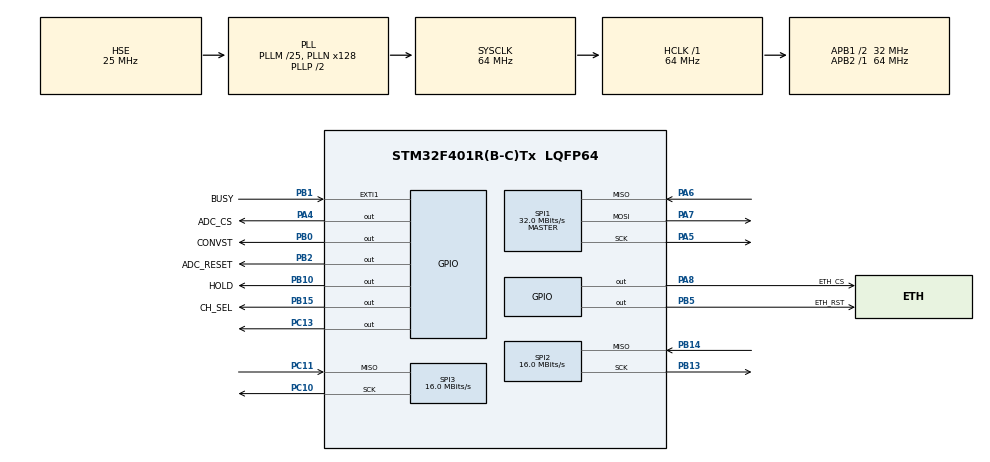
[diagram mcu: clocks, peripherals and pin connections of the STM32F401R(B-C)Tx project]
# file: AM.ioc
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Dma.Request0=SPI1_TX
Dma.Request1=SPI3_RX
Dma.Request2=SPI2_RX
Dma.SPI1_TX.0.Direction=DMA_MEMORY_TO_PERIPH
Dma.SPI1_TX.0.FIFOMode=DMA_FIFOMODE_DISABLE
Dma.SPI1_TX.0.Instance=DMA2_Stream3
Dma.SPI1_TX.0.MemDataAlignment=DMA_MDATAALIGN_BYTE
Dma.SPI1_TX.0.MemInc=DMA_MINC_ENABLE
Dma.SPI1_TX.0.Mode=DMA_NORMAL
Dma.SPI1_TX.0.PeriphDataAlignment=DMA_PDATAALIGN_BYTE
Dma.SPI1_TX.0.PeriphInc=DMA_PINC_DISABLE
Dma.SPI1_TX.0.Priority=DMA_PRIORITY_VERY_HIGH
Dma.SPI2_RX.2.Direction=DMA_PERIPH_TO_MEMORY
Dma.SPI2_RX.2.FIFOMode=DMA_FIFOMODE_DISABLE
Dma.SPI2_RX.2.Instance=DMA1_Stream3
Dma.SPI2_RX.2.MemDataAlignment=DMA_MDATAALIGN_BYTE
Dma.SPI2_RX.2.MemInc=DMA_MINC_ENABLE
Dma.SPI2_RX.2.Mode=DMA_NORMAL
Dma.SPI2_RX.2.PeriphDataAlignment=DMA_PDATAALIGN_BYTE
Dma.SPI2_RX.2.PeriphInc=DMA_PINC_DISABLE
Dma.SPI2_RX.2.Priority=DMA_PRIORITY_LOW
Dma.SPI3_RX.1.Direction=DMA_PERIPH_TO_MEMORY
Dma.SPI3_RX.1.FIFOMode=DMA_FIFOMODE_DISABLE
Dma.SPI3_RX.1.Instance=DMA1_Stream0
Dma.SPI3_RX.1.MemDataAlignment=DMA_MDATAALIGN_HALFWORD
Dma.SPI3_RX.1.MemInc=DMA_MINC_ENABLE
Dma.SPI3_RX.1.Mode=DMA_NORMAL
Dma.SPI3_RX.1.PeriphDataAlignment=DMA_PDATAALIGN_HALFWORD
Dma.SPI3_RX.1.PeriphInc=DMA_PINC_DISABLE
Dma.SPI3_RX.1.Priority=DMA_PRIORITY_LOW
Mcu.Family=STM32F4
Mcu.Name=STM32F401R(B-C)Tx
Mcu.Package=LQFP64
NVIC.DMA1_Stream0_IRQn=true\:0\:0\:false\:false\:true\:false\:true\:true
NVIC.DMA1_Stream3_IRQn=true\:0\:0\:false\:false\:true\:false\:true\:true
NVIC.DMA2_Stream3_IRQn=true\:3\:0\:true\:false\:true\:false\:true\:true
NVIC.PriorityGroup=NVIC_PRIORITYGROUP_4
PA4.GPIO_Label=ADC_CS
PA4.GPIO_Speed=GPIO_SPEED_FREQ_VERY_HIGH
PA4.PinState=GPIO_PIN_SET
PA4.Signal=GPIO_Output
PA5.Mode=Full_Duplex_Master
PA5.Signal=SPI1_SCK
PA6.Mode=Full_Duplex_Master
PA6.Signal=SPI1_MISO
PA7.Mode=Full_Duplex_Master
PA7.Signal=SPI1_MOSI
PA8.GPIO_Label=ETH_CS
PA8.GPIO_Speed=GPIO_SPEED_FREQ_HIGH
PA8.PinState=GPIO_PIN_SET
PA8.Signal=GPIO_Output
PB0.GPIO_Label=CONVST
PB0.GPIO_Speed=GPIO_SPEED_FREQ_VERY_HIGH
PB0.PinState=GPIO_PIN_SET
PB0.Signal=GPIO_Output
PB1.GPIO_Label=BUSY
PB1.GPIO_ModeDefaultEXTI=GPIO_MODE_IT_FALLING
PB1.Signal=GPXTI1
PB10.GPIO_Label=HOLD
PB10.GPIO_Speed=GPIO_SPEED_FREQ_VERY_HIGH
PB10.PinState=GPIO_PIN_SET
PB10.Signal=GPIO_Output
PB13.Mode=RX_Only_Simplex_Unidirect_Master
PB13.Signal=SPI2_SCK
PB14.Mode=RX_Only_Simplex_Unidirect_Master
PB14.Signal=SPI2_MISO
PB15.GPIO_Label=CH_SEL
PB15.GPIO_Speed=GPIO_SPEED_FREQ_VERY_HIGH
PB15.Signal=GPIO_Output
PB2.GPIO_Label=ADC_RESET
PB2.GPIO_Speed=GPIO_SPEED_FREQ_VERY_HIGH
PB2.Signal=GPIO_Output
PB5.GPIO_Label=ETH_RST
PB5.GPIO_Speed=GPIO_SPEED_FREQ_LOW
PB5.PinState=GPIO_PIN_SET
PB5.Signal=GPIO_Output
PC10.Mode=RX_Only_Simplex_Unidirect_Master
PC10.Signal=SPI3_SCK
PC11.Mode=RX_Only_Simplex_Unidirect_Master
PC11.Signal=SPI3_MISO
PC13-ANTI_TAMP.GPIO_Speed=GPIO_SPEED_FREQ_LOW
PC13-ANTI_TAMP.PinState=GPIO_PIN_SET
PC13-ANTI_TAMP.Signal=GPIO_Output
PH0\ -\ OSC_IN.Mode=HSE-External-Oscillator
PH0\ -\ OSC_IN.Signal=RCC_OSC_IN
PH1\ -\ OSC_OUT.Mode=HSE-External-Oscillator
PH1\ -\ OSC_OUT.Signal=RCC_OSC_OUT
ProjectManager.HeapSize=0x200
ProjectManager.StackSize=0x400
ProjectManager.TargetToolchain=STM32CubeIDE
RCC.48MHZClocksFreq_Value=32000000
RCC.AHBFreq_Value=64000000
RCC.APB1CLKDivider=RCC_HCLK_DIV2
RCC.APB1Freq_Value=32000000
RCC.APB1TimFreq_Value=64000000
RCC.APB2Freq_Value=64000000
RCC.APB2TimFreq_Value=64000000
RCC.CortexFreq_Value=64000000
RCC.HCLKFreq_Value=64000000
RCC.HSE_VALUE=25000000
RCC.HSI_VALUE=16000000
RCC.LSE_VALUE=32768
RCC.PLLM=25
RCC.PLLN=128
RCC.PLLSourceVirtual=RCC_PLLSOURCE_HSE
RCC.SYSCLKFreq_VALUE=64000000
RCC.SYSCLKSource=RCC_SYSCLKSOURCE_PLLCLK
RCC.VCOOutputFreq_Value=128000000
SPI1.BaudRatePrescaler=SPI_BAUDRATEPRESCALER_2
SPI1.CalculateBaudRate=32.0 MBits/s
SPI1.Direction=SPI_DIRECTION_2LINES
SPI1.Mode=SPI_MODE_MASTER
SPI1.VirtualType=VM_MASTER
SPI2.CalculateBaudRate=16.0 MBits/s
SPI2.Direction=SPI_DIRECTION_2LINES_RXONLY
SPI2.Mode=SPI_MODE_MASTER
SPI2.VirtualType=VM_MASTER
SPI3.CalculateBaudRate=16.0 MBits/s
SPI3.DataSize=SPI_DATASIZE_16BIT
SPI3.Direction=SPI_DIRECTION_2LINES_RXONLY
SPI3.Mode=SPI_MODE_MASTER
SPI3.VirtualType=VM_MASTER
TIM2.Period=639
VP_TIM2_VS_ClockSourceINT.Mode=Internal
board=custom

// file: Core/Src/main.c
/* USER CODE BEGIN Header */
/**
 * main.c — AD7606 16-ch ADC acquisition + W5500 Ethernet DMA TX
 *
 * STM32F401RCT6 @ 64 MHz (HSE=25 MHz, PLLM=25, PLLN=128, PLLP=/2)
 *
 * SPI1 (ETH)      : APB2=64 MHz, prescaler /2 → 32 MHz
 * SPI2/SPI3 (ADC) : APB1=32 MHz, prescaler /2 → 16 MHz
 * TIM2            : APB1x2=64 MHz, ARR=1332 → 48 kHz acquisition trigger
 *
 * FIX 1 — All ADC GPIO pins initialised here (CS, CONVST, RESET, HOLD,
 *          CH_SEL as outputs; BUSY as input with pull-down to prevent a
 *          floating-pin interrupt storm that starves SysTick).
 * FIX 2 — MX_SPI2_Init, MX_SPI3_Init and MX_TIM2_Init are now present
 *          and called from main() so the ADC driver can operate.
 */
/* USER CODE END Header */

#include "main.h"

/* USER CODE BEGIN Includes */
#include "wiz5500.h"
#include "ad7606.h"
#include <string.h>
/* USER CODE END Includes */

/* USER CODE BEGIN PD */
#define BATCH_FRAMES   AD7606_BATCH_FRAMES   /* 24  */
#define CHANNELS       AD7606_NUM_CHANNELS   /* 16  */
#define FRAME_SIZE     AD7606_FRAME_SIZE     /* 36  */
#define BATCH_SIZE     AD7606_BATCH_SIZE     /* 864 */
/* USER CODE END PD */

SPI_HandleTypeDef hspi1;
DMA_HandleTypeDef hdma_spi1_tx;

/* ADC peripheral handles — fully initialised by MX_SPI2/3_Init below */
SPI_HandleTypeDef hspi2;
SPI_HandleTypeDef hspi3;
TIM_HandleTypeDef htim2;
DMA_HandleTypeDef hdma_spi2_rx;
DMA_HandleTypeDef hdma_spi3_rx;

/* USER CODE BEGIN PV */
static AD7606_Batch rx_batch;
static volatile uint32_t sent_ok    = 0u;
static volatile uint32_t eth_drops  = 0u;
/* USER CODE END PV */

void SystemClock_Config(void);
static void MX_GPIO_Init(void);
static void MX_DMA_Init(void);
static void MX_SPI1_Init(void);
static void MX_SPI2_Init(void);   /* FIX 2: was missing */
static void MX_SPI3_Init(void);   /* FIX 2: was missing */
static void MX_TIM2_Init(void);   /* FIX 2: was missing */

int main(void)
{
    HAL_Init();
    /* HAL SPI timeout helpers use HAL_GetTick(). We launch ADC SPI DMA from
     * EXTI/TIM paths, so SysTick must preempt those ISRs; otherwise timeout
     * loops in HAL can stall waiting for a tick that never advances. */
    HAL_NVIC_SetPriority(SysTick_IRQn, 0, 0);
    SystemClock_Config();

    /* FIX 1: GPIO must come first so all output pins are in a safe
     * idle state (CS high, CONVST high, BUSY pull-down applied) before
     * any peripheral is started.  The BUSY pull-down prevents the
     * floating-pin EXTI storm that starved SysTick. */
    MX_GPIO_Init();

    /* FIX 2: DMA clocks and NVIC must be set up before the SPI inits
     * that link DMA handles, and before the ADC driver is called. */
    MX_DMA_Init();

    MX_SPI1_Init();
    MX_SPI2_Init();   /* FIX 2 */
    MX_SPI3_Init();   /* FIX 2 */
    MX_TIM2_Init();   /* FIX 2 */

    /* USER CODE BEGIN 2 */
    /* ── Ethernet ────────────────────────────────────────────── */
    WIZ5500_Config eth_cfg = {
        .mac       = {0x00, 0x08, 0xDC, 0x11, 0x22, 0x33},
        .ip        = {192, 168, 1, 20},
        .subnet    = {255, 255, 255, 0},
        .gateway   = {192, 168, 1, 1},
        .dest_ip   = {192, 168, 1, 255},
        .dest_port = 5002u,
        .src_port  = 5001u,
    };
    WIZ5500_Init(&eth_cfg);

    if (WIZCHIP_READ(VERSIONR) != 0x04u)
        Error_Handler();

    if (WIZ5500_SetupSocket0() != WIZ5500_OK)
        Error_Handler();

    /* ── ADC ─────────────────────────────────────────────────── */
    AD7606_Init(&hspi2, &hspi3, &htim2);
    AD7606_Start();
    /* USER CODE END 2 */

    while (1)
    {
        if (AD7606_IsBatchReady())
        {
            AD7606_GetBatch(&rx_batch);

            WIZ5500_Status s;
            do {
                s = WIZ5500_SendBatch(rx_batch.packet, BATCH_SIZE);
            } while (s == WIZ5500_ERR_BUSY);

            if (s == WIZ5500_OK)
                sent_ok++;
            else
                eth_drops++;
        }

        /* LED heartbeat — toggle every 4096 frames */
        if ((AD7606_GetFrameCount() & 0xFFFu) == 0u)
            HAL_GPIO_TogglePin(GPIOC, GPIO_PIN_13);
    }
}

/* ── System clock ────────────────────────────────────────────────────────── */
void SystemClock_Config(void)
{
    RCC_OscInitTypeDef RCC_OscInitStruct = {0};
    RCC_ClkInitTypeDef RCC_ClkInitStruct = {0};

    __HAL_RCC_PWR_CLK_ENABLE();
    __HAL_PWR_VOLTAGESCALING_CONFIG(PWR_REGULATOR_VOLTAGE_SCALE1);

    RCC_OscInitStruct.OscillatorType = RCC_OSCILLATORTYPE_HSE;
    RCC_OscInitStruct.HSEState       = RCC_HSE_ON;
    RCC_OscInitStruct.PLL.PLLState   = RCC_PLL_ON;
    RCC_OscInitStruct.PLL.PLLSource  = RCC_PLLSOURCE_HSE;
    RCC_OscInitStruct.PLL.PLLM       = 25;
    RCC_OscInitStruct.PLL.PLLN       = 128;
    RCC_OscInitStruct.PLL.PLLP       = RCC_PLLP_DIV2;  /* SYSCLK = 64 MHz */
    RCC_OscInitStruct.PLL.PLLQ       = 4;
    if (HAL_RCC_OscConfig(&RCC_OscInitStruct) != HAL_OK) Error_Handler();

    RCC_ClkInitStruct.ClockType      = RCC_CLOCKTYPE_HCLK | RCC_CLOCKTYPE_SYSCLK
                                      | RCC_CLOCKTYPE_PCLK1 | RCC_CLOCKTYPE_PCLK2;
    RCC_ClkInitStruct.SYSCLKSource   = RCC_SYSCLKSOURCE_PLLCLK;
    RCC_ClkInitStruct.AHBCLKDivider  = RCC_SYSCLK_DIV1;   /* HCLK  = 64 MHz */
    RCC_ClkInitStruct.APB1CLKDivider = RCC_HCLK_DIV2;     /* APB1  = 32 MHz */
    RCC_ClkInitStruct.APB2CLKDivider = RCC_HCLK_DIV1;     /* APB2  = 64 MHz */
    if (HAL_RCC_ClockConfig(&RCC_ClkInitStruct, FLASH_LATENCY_2) != HAL_OK)
        Error_Handler();
}

/* ── SPI1 — W5500 Ethernet @ 32 MHz ─────────────────────────────────────── */
static void MX_SPI1_Init(void)
{
    hspi1.Instance               = SPI1;
    hspi1.Init.Mode              = SPI_MODE_MASTER;
    hspi1.Init.Direction         = SPI_DIRECTION_2LINES;
    hspi1.Init.DataSize          = SPI_DATASIZE_8BIT;
    hspi1.Init.CLKPolarity       = SPI_POLARITY_LOW;
    hspi1.Init.CLKPhase          = SPI_PHASE_1EDGE;
    hspi1.Init.NSS               = SPI_NSS_SOFT;
    hspi1.Init.BaudRatePrescaler = SPI_BAUDRATEPRESCALER_2;  /* APB2/2 = 32 MHz */
    hspi1.Init.FirstBit          = SPI_FIRSTBIT_MSB;
    hspi1.Init.TIMode            = SPI_TIMODE_DISABLE;
    hspi1.Init.CRCCalculation    = SPI_CRCCALCULATION_DISABLE;
    hspi1.Init.CRCPolynomial     = 10;
    if (HAL_SPI_Init(&hspi1) != HAL_OK) Error_Handler();
}

/* ── SPI2 — AD7606 DOUTA (X bank, CH1-CH8) @ 16 MHz ────────────────────── */
static void MX_SPI2_Init(void)
{
    hspi2.Instance               = SPI2;
    hspi2.Init.Mode              = SPI_MODE_MASTER;
    hspi2.Init.Direction         = SPI_DIRECTION_2LINES_RXONLY;
    hspi2.Init.DataSize          = SPI_DATASIZE_8BIT;    /* Changed to 8-bit for direct DMA */
    hspi2.Init.CLKPolarity       = SPI_POLARITY_LOW;
    hspi2.Init.CLKPhase          = SPI_PHASE_1EDGE;
    hspi2.Init.NSS               = SPI_NSS_SOFT;
    hspi2.Init.BaudRatePrescaler = ADC_SPI_PRESCALER;
    hspi2.Init.FirstBit          = SPI_FIRSTBIT_MSB;
    hspi2.Init.TIMode            = SPI_TIMODE_DISABLE;
    hspi2.Init.CRCCalculation    = SPI_CRCCALCULATION_DISABLE;
    hspi2.Init.CRCPolynomial     = 10;
    if (HAL_SPI_Init(&hspi2) != HAL_OK) Error_Handler();
}

/* ── SPI3 — AD7606 DOUTB (Y bank, CH9-CH16) @ 16 MHz ───────────────────── */
static void MX_SPI3_Init(void)
{
    hspi3.Instance               = SPI3;
    hspi3.Init.Mode              = SPI_MODE_MASTER;
    hspi3.Init.Direction         = SPI_DIRECTION_2LINES_RXONLY;
    hspi3.Init.DataSize          = SPI_DATASIZE_8BIT;    /* Changed to 8-bit for direct DMA */
    hspi3.Init.CLKPolarity       = SPI_POLARITY_LOW;
    hspi3.Init.CLKPhase          = SPI_PHASE_1EDGE;
    hspi3.Init.NSS               = SPI_NSS_SOFT;
    hspi3.Init.BaudRatePrescaler = ADC_SPI_PRESCALER;
    hspi3.Init.FirstBit          = SPI_FIRSTBIT_MSB;
    hspi3.Init.TIMode            = SPI_TIMODE_DISABLE;
    hspi3.Init.CRCCalculation    = SPI_CRCCALCULATION_DISABLE;
    hspi3.Init.CRCPolynomial     = 10;
    if (HAL_SPI_Init(&hspi3) != HAL_OK) Error_Handler();
}

/* ── TIM2 — 48 kHz ADC acquisition trigger ──────────────────────────────── */
/* FIX 2: This function was entirely absent from the original main.c.
 * TIM2_CLK = APB1(32MHz) x2 = 64 MHz (APB1 prescaler != 1 → timer x2 rule).
 * ARR = 64,000,000 / 48,000 - 1 = 1332 → exactly 48 kHz.
 * HAL_TIM_Base_MspInit (hal_msp.c) enables TIM2 clock and NVIC. */
static void MX_TIM2_Init(void)
{
    TIM_ClockConfigTypeDef  sClockSourceConfig = {0};
    TIM_MasterConfigTypeDef sMasterConfig      = {0};

    htim2.Instance               = TIM2;
    htim2.Init.Prescaler         = 0;                  /* No prescaler — full 64 MHz */
    htim2.Init.CounterMode       = TIM_COUNTERMODE_UP;
    htim2.Init.Period            = AD7606_TIM_ARR;     /* 1332 → 48 kHz */
    htim2.Init.ClockDivision     = TIM_CLOCKDIVISION_DIV1;
    htim2.Init.AutoReloadPreload = TIM_AUTORELOAD_PRELOAD_DISABLE;
    if (HAL_TIM_Base_Init(&htim2) != HAL_OK) Error_Handler();

    sClockSourceConfig.ClockSource = TIM_CLOCKSOURCE_INTERNAL;
    if (HAL_TIM_ConfigClockSource(&htim2, &sClockSourceConfig) != HAL_OK)
        Error_Handler();

    sMasterConfig.MasterOutputTrigger = TIM_TRGO_RESET;
    sMasterConfig.MasterSlaveMode     = TIM_MASTERSLAVEMODE_DISABLE;
    if (HAL_TIMEx_MasterConfigSynchronization(&htim2, &sMasterConfig) != HAL_OK)
        Error_Handler();
}

/* ── DMA controller clocks + NVIC ───────────────────────────────────────── */
/* FIX 2: DMA1 clock added for SPI2/SPI3 DMA streams.
 * Only the ETH DMA IRQ was previously enabled; the ADC DMA IRQs were absent. */
static void MX_DMA_Init(void)
{
    /* DMA1: SPI2_RX (Stream3) and SPI3_RX (Stream0) */
    __HAL_RCC_DMA1_CLK_ENABLE();

    /* DMA2: SPI1_TX (Stream3) — Ethernet */
    __HAL_RCC_DMA2_CLK_ENABLE();

    /* FIX 2: ADC DMA IRQs were never enabled — HardFault on first DMA TC */
    HAL_NVIC_SetPriority(ADC_DMA_SPI2_IRQn, ADC_DMA_NVIC_PRIORITY, 0);   /* priority 0 */
    HAL_NVIC_EnableIRQ(ADC_DMA_SPI2_IRQn);   /* DMA1_Stream3 — SPI2 RX */

    HAL_NVIC_SetPriority(ADC_DMA_SPI3_IRQn, ADC_DMA_NVIC_PRIORITY, 0);   /* priority 0 */
    HAL_NVIC_EnableIRQ(ADC_DMA_SPI3_IRQn);   /* DMA1_Stream0 — SPI3 RX */

    /* Ethernet DMA — lower priority than ADC */
    HAL_NVIC_SetPriority(ETH_DMA_IRQn, ETH_DMA_NVIC_PRIORITY, 0);        /* priority 5 */
    HAL_NVIC_EnableIRQ(ETH_DMA_IRQn);        /* DMA2_Stream3 — SPI1 TX */
}

/* ── GPIO ────────────────────────────────────────────────────────────────── */
/*
 * FIX 1 — Complete GPIO initialisation for every ADC control pin.
 *
 * Root cause of the HAL_GetTick() freeze:
 *   PB1 (BUSY) was left uninitialised → floating → EXTI1 fired
 *   continuously at priority 1, starving SysTick (priority 15).
 *
 * Fix applied:
 *   • BUSY (PB1)   — INPUT with GPIO_PULLDOWN so the line rests LOW
 *                    when the AD7606 is idle.  Prevents spurious EXTI1
 *                    triggers before the ADC is powered/reset.
 *   • CONVST (PB0) — OUTPUT_PP, pre-set HIGH (idle state).
 *   • RESET (PB2)  — OUTPUT_PP, pre-set LOW  (deasserted).
 *   • HOLD  (PB10) — OUTPUT_PP, pre-set HIGH (released/inactive).
 *   • CH_SEL(PB15) — OUTPUT_PP, pre-set LOW  (X bank default).
 *   • ADC_CS(PA4)  — OUTPUT_PP, pre-set HIGH (deasserted).
 *
 * NOTE: The EXTI1 interrupt itself (NVIC) is enabled in
 *       stm32f4xx_hal_msp.c alongside the SPI2 init, after BUSY has
 *       been given a defined pull-down state here.
 */
static void MX_GPIO_Init(void)
{
    GPIO_InitTypeDef GPIO_InitStruct = {0};

    /* Enable all port clocks used */
    __HAL_RCC_GPIOA_CLK_ENABLE();
    __HAL_RCC_GPIOB_CLK_ENABLE();
    __HAL_RCC_GPIOC_CLK_ENABLE();
    __HAL_RCC_GPIOH_CLK_ENABLE();

    /* ── Pre-set outputs to safe idle levels BEFORE init ──────── */
    /* ADC CS — deasserted (HIGH) */
    HAL_GPIO_WritePin(ADC_CS_PORT,    ADC_CS_PIN,    GPIO_PIN_SET);
    /* CONVST — idle HIGH; falling edge triggers conversion */
    HAL_GPIO_WritePin(ADC_CONVST_PORT, ADC_CONVST_PIN, GPIO_PIN_SET);
    /* RESET — deasserted (LOW active-HIGH device, so keep LOW) */
    HAL_GPIO_WritePin(ADC_RESET_PORT, ADC_RESET_PIN, GPIO_PIN_RESET);
    /* HOLD — released (HIGH = tracking) */
    HAL_GPIO_WritePin(ADC_HOLD_PORT,  ADC_HOLD_PIN,  GPIO_PIN_SET);
    /* CH_SEL — X bank default (LOW) */
    HAL_GPIO_WritePin(ADC_CHSEL_PORT, ADC_CHSEL_PIN, GPIO_PIN_RESET);
    /* ETH CS — deasserted */
    HAL_GPIO_WritePin(ETH_CS_PORT,  ETH_CS_PIN,   GPIO_PIN_SET);
    HAL_GPIO_WritePin(ETH_RST_PORT, ETH_RST_PIN,  GPIO_PIN_SET);
    /* LED — off (active LOW) */
    HAL_GPIO_WritePin(GPIOC, GPIO_PIN_13, GPIO_PIN_SET);

    /* ── GPIOA outputs ────────────────────────────────────────── */
    /* PA4  — ADC_CS */
    /* PA8  — ETH_CS */
    GPIO_InitStruct.Pin   = ADC_CS_PIN | ETH_CS_PIN;
    GPIO_InitStruct.Mode  = GPIO_MODE_OUTPUT_PP;
    GPIO_InitStruct.Pull  = GPIO_NOPULL;
    GPIO_InitStruct.Speed = GPIO_SPEED_FREQ_HIGH;
    HAL_GPIO_Init(GPIOA, &GPIO_InitStruct);

    /* ── GPIOB outputs ────────────────────────────────────────── */
    /* PB0  — CONVST  (pulse LOW ≥25 ns, idle HIGH)              */
    /* PB2  — RESET   (active HIGH, ≥100 ns pulse)               */
    /* PB5  — ETH_RST (active LOW)                               */
    /* PB10 — HOLD    (active LOW, freezes T&H)                  */
    /* PB15 — CH_SEL  (LOW=X, HIGH=Y)                            */
    GPIO_InitStruct.Pin   = ADC_CONVST_PIN | ADC_RESET_PIN
                          | ETH_RST_PIN
                          | ADC_HOLD_PIN | ADC_CHSEL_PIN;
    GPIO_InitStruct.Mode  = GPIO_MODE_OUTPUT_PP;
    GPIO_InitStruct.Pull  = GPIO_NOPULL;
    GPIO_InitStruct.Speed = GPIO_SPEED_FREQ_HIGH;
    HAL_GPIO_Init(GPIOB, &GPIO_InitStruct);

    /* ── GPIOB input — BUSY (PB1) ────────────────────────────── */
    /*
     * FIX 1 — CRITICAL: pull-down applied.
     *
     * The AD7606 BUSY pin is open-drain and is driven HIGH during
     * conversion.  When the ADC is idle (or not yet reset) it floats.
     * Without a pull-down the floating PB1 caused continuous EXTI1
     * interrupts (priority 1) that prevented SysTick (priority 15)
     * from ever running, freezing HAL_GetTick() / HAL_Delay().
     *
     * GPIO_PULLDOWN ensures PB1 reads LOW when BUSY is not asserted,
     * which is the correct idle/default state for the EXTI1 edge
     * detector configured for falling-edge only.
     */
    GPIO_InitStruct.Pin   = ADC_BUSY_PIN;             /* PB1 */
    GPIO_InitStruct.Mode  = GPIO_MODE_IT_FALLING;     /* EXTI1 falling edge */
    GPIO_InitStruct.Pull  = GPIO_PULLDOWN;             /* FIX: was floating */
    GPIO_InitStruct.Speed = GPIO_SPEED_FREQ_HIGH;
    HAL_GPIO_Init(ADC_BUSY_PORT, &GPIO_InitStruct);

    /* ── GPIOC outputs ────────────────────────────────────────── */
    /* PC13 — LED (active LOW, open-drain on blue-pill boards)    */
    GPIO_InitStruct.Pin   = GPIO_PIN_13;
    GPIO_InitStruct.Mode  = GPIO_MODE_OUTPUT_PP;
    GPIO_InitStruct.Pull  = GPIO_NOPULL;
    GPIO_InitStruct.Speed = GPIO_SPEED_FREQ_LOW;
    HAL_GPIO_Init(GPIOC, &GPIO_InitStruct);

    /* ── EXTI1 NVIC (BUSY pin interrupt) ─────────────────────── */
    /*
     * Enabled HERE, after the GPIO is configured with a pull-down.
     * Enabling the NVIC before the pull-down is applied risks a
     * spurious interrupt on power-up if BUSY floats HIGH momentarily.
     */
    HAL_NVIC_SetPriority(EXTI1_IRQn, ADC_EXTI1_NVIC_PRIORITY, 0);  /* priority 1 */
    HAL_NVIC_EnableIRQ(EXTI1_IRQn);
}

/* ── Error handler ───────────────────────────────────────────────────────── */
void Error_Handler(void)
{
    __disable_irq();
    HAL_GPIO_WritePin(GPIOC, GPIO_PIN_13, GPIO_PIN_RESET);  /* LED on */
    while (1) {}
}
